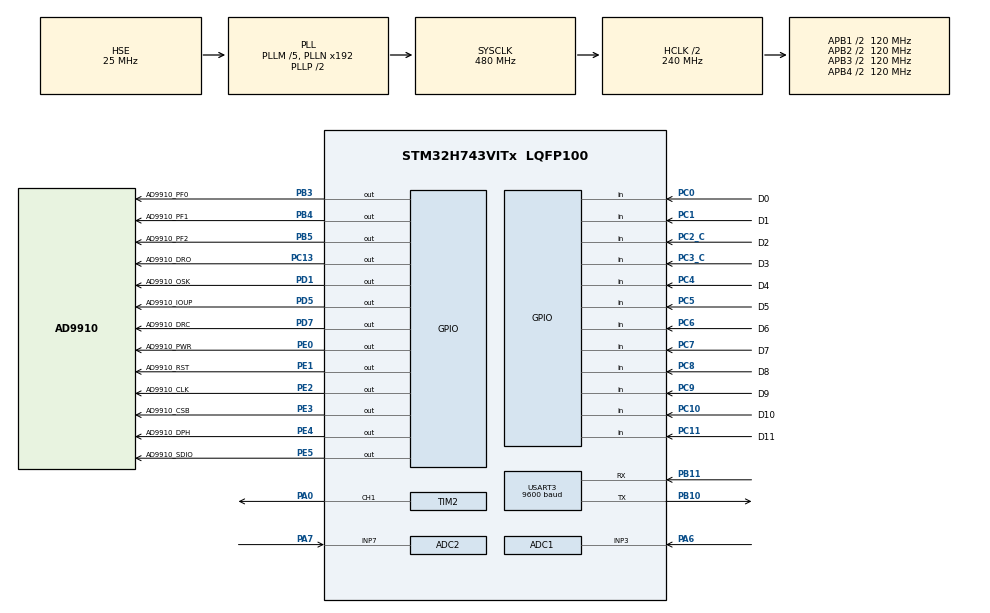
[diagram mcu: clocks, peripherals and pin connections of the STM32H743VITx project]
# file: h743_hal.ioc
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ADC1.Channel-0\#ChannelRegularConversion=ADC_CHANNEL_3
ADC1.ConversionDataManagement=ADC_CONVERSIONDATA_DMA_CIRCULAR
ADC1.ExternalTrigConv=ADC_EXTERNALTRIG_T4_TRGO
ADC1.NbrOfConversionFlag=1
ADC1.OffsetNumber-0\#ChannelRegularConversion=ADC_OFFSET_NONE
ADC1.OffsetSignedSaturation-0\#ChannelRegularConversion=DISABLE
ADC1.Rank-0\#ChannelRegularConversion=1
ADC1.Resolution=ADC_RESOLUTION_16B
ADC1.SamplingTime-0\#ChannelRegularConversion=ADC_SAMPLETIME_1CYCLE_5
ADC1.master=1
ADC2.Channel-0\#ChannelRegularConversion=ADC_CHANNEL_7
ADC2.ConversionDataManagement=ADC_CONVERSIONDATA_DMA_CIRCULAR
ADC2.ExternalTrigConv=ADC_EXTERNALTRIG_T3_TRGO
ADC2.NbrOfConversionFlag=1
ADC2.OffsetNumber-0\#ChannelRegularConversion=ADC_OFFSET_NONE
ADC2.OffsetSignedSaturation-0\#ChannelRegularConversion=DISABLE
ADC2.Rank-0\#ChannelRegularConversion=1
ADC2.Resolution=ADC_RESOLUTION_12B
ADC2.SamplingTime-0\#ChannelRegularConversion=ADC_SAMPLETIME_1CYCLE_5
CORTEX_M7.AccessPermission_Spec=MPU_REGION_FULL_ACCESS
CORTEX_M7.BaseAddress_Spec=0x24000000
CORTEX_M7.CPU_DCache=Enabled
CORTEX_M7.CPU_ICache=Enabled
CORTEX_M7.DisableExec_Spec=MPU_INSTRUCTION_ACCESS_ENABLE
CORTEX_M7.IsShareable_Spec=MPU_ACCESS_NOT_SHAREABLE
CORTEX_M7.Size_Spec=MPU_REGION_SIZE_128KB
CORTEX_M7.SubRegionDisable_Spec=0x0
CORTEX_M7.TypeExtField_Spec=MPU_TEX_LEVEL1
CORTEX_M7.default_mode_Activation=1
Dma.ADC1.1.Direction=DMA_PERIPH_TO_MEMORY
Dma.ADC1.1.EventEnable=DISABLE
Dma.ADC1.1.FIFOMode=DMA_FIFOMODE_DISABLE
Dma.ADC1.1.Instance=DMA1_Stream0
Dma.ADC1.1.MemDataAlignment=DMA_MDATAALIGN_HALFWORD
Dma.ADC1.1.MemInc=DMA_MINC_ENABLE
Dma.ADC1.1.Mode=DMA_CIRCULAR
Dma.ADC1.1.PeriphDataAlignment=DMA_PDATAALIGN_HALFWORD
Dma.ADC1.1.PeriphInc=DMA_PINC_DISABLE
Dma.ADC1.1.Polarity=HAL_DMAMUX_REQ_GEN_RISING
Dma.ADC1.1.Priority=DMA_PRIORITY_LOW
Dma.ADC1.1.RequestNumber=1
Dma.ADC1.1.SignalID=NONE
Dma.ADC1.1.SyncEnable=DISABLE
Dma.ADC1.1.SyncPolarity=HAL_DMAMUX_SYNC_NO_EVENT
Dma.ADC1.1.SyncRequestNumber=1
Dma.ADC1.1.SyncSignalID=NONE
Dma.ADC2.0.Direction=DMA_PERIPH_TO_MEMORY
Dma.ADC2.0.EventEnable=DISABLE
Dma.ADC2.0.FIFOMode=DMA_FIFOMODE_DISABLE
Dma.ADC2.0.Instance=DMA2_Stream0
Dma.ADC2.0.MemDataAlignment=DMA_MDATAALIGN_HALFWORD
Dma.ADC2.0.MemInc=DMA_MINC_ENABLE
Dma.ADC2.0.Mode=DMA_NORMAL
Dma.ADC2.0.PeriphDataAlignment=DMA_PDATAALIGN_HALFWORD
Dma.ADC2.0.PeriphInc=DMA_PINC_DISABLE
Dma.ADC2.0.Polarity=HAL_DMAMUX_REQ_GEN_RISING
Dma.ADC2.0.Priority=DMA_PRIORITY_HIGH
Dma.ADC2.0.RequestNumber=1
Dma.ADC2.0.SignalID=NONE
Dma.ADC2.0.SyncEnable=DISABLE
Dma.ADC2.0.SyncPolarity=HAL_DMAMUX_SYNC_NO_EVENT
Dma.ADC2.0.SyncRequestNumber=1
Dma.ADC2.0.SyncSignalID=NONE
Dma.Request0=ADC2
Dma.Request1=ADC1
Dma.Request2=TIM2_CH2
Dma.TIM2_CH2.2.Direction=DMA_PERIPH_TO_MEMORY
Dma.TIM2_CH2.2.EventEnable=DISABLE
Dma.TIM2_CH2.2.FIFOMode=DMA_FIFOMODE_DISABLE
Dma.TIM2_CH2.2.Instance=DMA1_Stream1
Dma.TIM2_CH2.2.MemDataAlignment=DMA_MDATAALIGN_HALFWORD
Dma.TIM2_CH2.2.MemInc=DMA_MINC_ENABLE
Dma.TIM2_CH2.2.Mode=DMA_NORMAL
Dma.TIM2_CH2.2.PeriphDataAlignment=DMA_PDATAALIGN_HALFWORD
Dma.TIM2_CH2.2.PeriphInc=DMA_PINC_DISABLE
Dma.TIM2_CH2.2.Polarity=HAL_DMAMUX_REQ_GEN_RISING
Dma.TIM2_CH2.2.Priority=DMA_PRIORITY_VERY_HIGH
Dma.TIM2_CH2.2.RequestNumber=1
Dma.TIM2_CH2.2.SignalID=NONE
Dma.TIM2_CH2.2.SyncEnable=DISABLE
Dma.TIM2_CH2.2.SyncPolarity=HAL_DMAMUX_SYNC_NO_EVENT
Dma.TIM2_CH2.2.SyncRequestNumber=1
Dma.TIM2_CH2.2.SyncSignalID=NONE
Mcu.Family=STM32H7
Mcu.Name=STM32H743VITx
Mcu.Package=LQFP100
NVIC.DMA1_Stream0_IRQn=true\:0\:0\:false\:false\:true\:false\:true\:true
NVIC.DMA1_Stream1_IRQn=true\:0\:0\:false\:false\:true\:false\:true\:true
NVIC.DMA2_Stream0_IRQn=true\:0\:0\:false\:false\:true\:false\:true\:true
NVIC.PriorityGroup=NVIC_PRIORITYGROUP_4
NVIC.USART3_IRQn=true\:0\:0\:false\:false\:true\:true\:true\:true
PA0.Signal=S_TIM2_CH1_ETR
PA13\ (JTMS/SWDIO).Mode=Serial_Wire
PA13\ (JTMS/SWDIO).Signal=DEBUG_JTMS-SWDIO
PA14\ (JTCK/SWCLK).Mode=Serial_Wire
PA14\ (JTCK/SWCLK).Signal=DEBUG_JTCK-SWCLK
PA6.Signal=ADCx_INP3
PA7.Signal=ADCx_INP7
PB10.Mode=Asynchronous
PB10.Signal=USART3_TX
PB11.Mode=Asynchronous
PB11.Signal=USART3_RX
PB3\ (JTDO/TRACESWO).GPIO_Label=AD9910_PF0
PB3\ (JTDO/TRACESWO).Signal=GPIO_Output
PB4\ (NJTRST).GPIO_Label=AD9910_PF1
PB4\ (NJTRST).Signal=GPIO_Output
PB5.GPIO_Label=AD9910_PF2
PB5.Signal=GPIO_Output
PC0.GPIO_Label=D0
PC0.Signal=GPIO_Input
PC1.GPIO_Label=D1
PC1.Signal=GPIO_Input
PC10.GPIO_Label=D10
PC10.Signal=GPIO_Input
PC11.GPIO_Label=D11
PC11.Signal=GPIO_Input
PC13.GPIO_Label=AD9910_DRO
PC13.Signal=GPIO_Output
PC2_C.GPIO_Label=D2
PC2_C.Signal=GPIO_Input
PC3_C.GPIO_Label=D3
PC3_C.Signal=GPIO_Input
PC4.GPIO_Label=D4
PC4.Signal=GPIO_Input
PC5.GPIO_Label=D5
PC5.Signal=GPIO_Input
PC6.GPIO_Label=D6
PC6.Signal=GPIO_Input
PC7.GPIO_Label=D7
PC7.Signal=GPIO_Input
PC8.GPIO_Label=D8
PC8.Signal=GPIO_Input
PC9.GPIO_Label=D9
PC9.Signal=GPIO_Input
PD1.GPIO_Label=AD9910_OSK
PD1.Signal=GPIO_Output
PD5.GPIO_Label=AD9910_IOUP
PD5.Signal=GPIO_Output
PD7.GPIO_Label=AD9910_DRC
PD7.Signal=GPIO_Output
PE0.GPIO_Label=AD9910_PWR
PE0.Signal=GPIO_Output
PE1.GPIO_Label=AD9910_RST
PE1.Signal=GPIO_Output
PE2.GPIO_Label=AD9910_CLK
PE2.GPIO_Speed=GPIO_SPEED_FREQ_VERY_HIGH
PE2.Signal=GPIO_Output
PE3.GPIO_Label=AD9910_CSB
PE3.Signal=GPIO_Output
PE4.GPIO_Label=AD9910_DPH
PE4.Signal=GPIO_Output
PE5.GPIO_Label=AD9910_SDIO
PE5.Signal=GPIO_Output
PH0-OSC_IN\ (PH0).Mode=HSE-External-Oscillator
PH0-OSC_IN\ (PH0).Signal=RCC_OSC_IN
PH1-OSC_OUT\ (PH1).Mode=HSE-External-Oscillator
PH1-OSC_OUT\ (PH1).Signal=RCC_OSC_OUT
ProjectManager.HeapSize=0x200
ProjectManager.StackSize=0x400
ProjectManager.TargetToolchain=MDK-ARM V5.32
RCC.ADCFreq_Value=75000000
RCC.APB1Freq_Value=120000000
RCC.APB2Freq_Value=120000000
RCC.APB3Freq_Value=120000000
RCC.APB4Freq_Value=120000000
RCC.CortexFreq_Value=480000000
RCC.D1PPRE=RCC_APB3_DIV2
RCC.D2PPRE1=RCC_APB1_DIV2
RCC.D2PPRE2=RCC_APB2_DIV2
RCC.D3PPRE=RCC_APB4_DIV2
RCC.DIVM1=5
RCC.DIVM2=2
RCC.DIVN1=192
RCC.DIVN2=12
RCC.HCLKFreq_Value=240000000
RCC.HPRE=RCC_HCLK_DIV2
RCC.PLL2FRACN=0
RCC.PLL3FRACN=0
RCC.PLLFRACN=0
RCC.PLLSourceVirtual=RCC_PLLSOURCE_HSE
RCC.SYSCLKFreq_VALUE=480000000
RCC.SYSCLKSource=RCC_SYSCLKSOURCE_PLLCLK
RCC.USBFreq_Value=480000000
SH.ADCx_INP3.0=ADC1_INP3,IN3-Single-Ended
SH.ADCx_INP7.0=ADC2_INP7,IN7-Single-Ended
SH.S_TIM2_CH1_ETR.0=TIM2_CH1,PWM Generation1 CH1
TIM2.AutoReloadPreload=TIM_AUTORELOAD_PRELOAD_ENABLE
TIM2.Channel-Output\ Compare2\ No\ Output=TIM_CHANNEL_2
TIM2.Channel-PWM\ Generation1\ CH1=TIM_CHANNEL_1
TIM2.CounterMode=TIM_COUNTERMODE_UP
TIM2.OC2Preload=DISABLE
TIM2.OCPolarity_1=TIM_OCPOLARITY_HIGH
TIM2.Period=2929-1
TIM2.Prescaler=2-1
TIM2.Pulse-Output\ Compare2\ No\ Output=2000
TIM2.Pulse-PWM\ Generation1\ CH1=1464
TIM2.TIM_MasterOutputTrigger=TIM_TRGO_UPDATE
TIM3.AutoReloadPreload=TIM_AUTORELOAD_PRELOAD_ENABLE
TIM3.Period=2929-1
TIM3.Prescaler=2-1
TIM3.TIM_MasterOutputTrigger=TIM_TRGO_UPDATE
TIM4.AutoReloadPreload=TIM_AUTORELOAD_PRELOAD_ENABLE
TIM4.Period=10-1
TIM4.Prescaler=240-1
TIM4.TIM_MasterOutputTrigger=TIM_TRGO_UPDATE
USART3.BaudRate=9600
USART3.VirtualMode-Asynchronous=VM_ASYNC
VP_MEMORYMAP_VS_MEMORYMAP.Mode=CurAppReg
VP_TIM2_VS_ClockSourceINT.Mode=Internal
VP_TIM2_VS_no_output2.Mode=Output Compare2 No Output
VP_TIM3_VS_ClockSourceINT.Mode=Internal
VP_TIM4_VS_ClockSourceINT.Mode=Internal
board=custom

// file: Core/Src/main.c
/* USER CODE BEGIN Header */
/**
  ******************************************************************************
  * @file           : main.c
  * @brief          : Main program body
  ******************************************************************************
  * @attention
  *
  * Copyright (c) 2026 STMicroelectronics.
  * All rights reserved.
  *
  * This software is licensed under terms that can be found in the LICENSE file
  * in the root directory of this software component.
  * If no LICENSE file comes with this software, it is provided AS-IS.
  *
  ******************************************************************************
  */
/* USER CODE END Header */
#include "main.h"
#include "adc.h"
#include "dma.h"
#include "tim.h"
#include "usart.h"
#include "gpio.h"

/* USER CODE BEGIN Includes */
#include "bsp_system.h"
#include "global_types.h"
/* USER CODE END Includes */

/* USER CODE BEGIN PV */
char aRxBuffer[RXBUFFERSIZE];
uint16_t RX_len;

volatile uint8_t dma_finish_ad9220 = 0;
volatile uint8_t dma_finish_adc2   = 0;

__attribute__((section (".AXI_SRAM"), aligned(32)))  uint16_t adc1_buffer[FFT_N+4] ;//混合信号，由AD9220采集，前四个数据舍弃
__attribute__((section (".AXI_SRAM"), aligned(32)))  uint16_t adc2_buffer[FFT_N] ;
__attribute__((section (".AXI_SRAM"))) fftin FFTIN_Mix;
__attribute__((section (".AXI_SRAM"))) fftin FFTIN_Inter;
__attribute__((section (".AXI_SRAM"))) fftdata FFTOUT_Mix;
__attribute__((section (".AXI_SRAM"))) fftdata FFTOUT_Inter;
__attribute__((section (".AXI_SRAM"), aligned(32)))  uint16_t phase_adc_buffer[16] ;//混频信号采集

max_3_index Top3_Mix;
max_3_index Top3_Inter;
Analysis_Result_t output;//频率分析结果

PhaseLocker my_locker;
float current_target_freq = 0.0f;

/* USER CODE END PV */

void SystemClock_Config(void);
void PeriphCommonClock_Config(void);
static void MPU_Config(void);

/* USER CODE BEGIN 0 */

float Get_Phase_ADC_Voltage(void)
{
    uint32_t sum = 0;
    for(int i = 0; i < 128; i++)
    {
        sum += phase_adc_buffer[i];
    }
    return (float)(sum >> 7);
}

void App_process(void)
{
    if (dma_finish_ad9220 == 0 || dma_finish_adc2 == 0) return;

    dma_finish_ad9220 = 0;
    dma_finish_adc2 = 0;

    AD9220_Stop_DMA();
    HAL_ADC_Stop_DMA(&hadc2);

    SCB_InvalidateDCache_by_Addr((uint32_t *)adc1_buffer, sizeof(adc1_buffer));
    SCB_InvalidateDCache_by_Addr((uint32_t *)adc2_buffer, sizeof(adc2_buffer));

    FFT_Task(&output);

    float freq_diff = fabs(output.Original.Freq - current_target_freq);

    if (my_locker.state == STATE_LOCKED) {

        if (freq_diff > 5.0f) {
            current_target_freq = output.Original.Freq;
            Send_Wave(&output);
            __disable_irq();
            PhaseLock_Reset(&my_locker);
            __enable_irq();
        }
    } else {
        if (freq_diff > 1.0f) {
            current_target_freq = output.Original.Freq;
            Send_Wave(&output);
            __disable_irq();
            PhaseLock_Reset(&my_locker);
            __enable_irq();
        }
    }
    USART_Task(&output);
    AD9220_Start_DMA(adc1_buffer, FFT_N + 4);
    HAL_ADC_Start_DMA(&hadc2, (uint32_t*)&adc2_buffer, FFT_N);
}
/* USER CODE END 0 */

int main(void)
{

  /* MPU Configuration--------------------------------------------------------*/
  MPU_Config();

  /* Enable the CPU Cache */

  /* Enable I-Cache---------------------------------------------------------*/
  SCB_EnableICache();

  /* Enable D-Cache---------------------------------------------------------*/
  SCB_EnableDCache();

  /* MCU Configuration--------------------------------------------------------*/

  /* Reset of all peripherals, Initializes the Flash interface and the Systick. */
  HAL_Init();

  /* Configure the system clock */
  SystemClock_Config();

  /* Configure the peripherals common clocks */
  PeriphCommonClock_Config();

  /* Initialize all configured peripherals */
  MX_GPIO_Init();
  MX_DMA_Init();
  MX_TIM3_Init();
  MX_TIM2_Init();
  MX_USART3_UART_Init();
  MX_ADC2_Init();
  MX_ADC1_Init();
  MX_TIM4_Init();
  /* USER CODE BEGIN 2 */
  //  HAL_UARTEx_ReceiveToIdle_IT(&huart3, (uint8_t *)aRxBuffer, RXBUFFERSIZE);
     HAL_ADC_Start_DMA(&hadc2,(uint32_t*)&adc2_buffer,FFT_N);
     HAL_TIM_Base_Start(&htim3);
   AD9220_Start_DMA(adc1_buffer, FFT_N+4);
     HAL_ADC_Start_DMA(&hadc1, (uint32_t*)phase_adc_buffer, 128);
     HAL_TIM_Base_Start(&htim4);
     Init_AD9910();
     HMI_Init();
     // 参数含义：&控制块, 初始占位靶心, Kp, Ki, Kd, 单次最大相位步进(度)
   PhaseLock_Init(&my_locker, 33760.0f, 0.003f, 0.0001f, 0.0f, 2.0f);

  /* USER CODE END 2 */

  /* Infinite loop */
  /* USER CODE BEGIN WHILE */
  while (1)
  {
    App_process();
    /* USER CODE END WHILE */

  }
}

void SystemClock_Config(void)
{
  RCC_OscInitTypeDef RCC_OscInitStruct = {0};
  RCC_ClkInitTypeDef RCC_ClkInitStruct = {0};

  /** Supply configuration update enable
  */
  HAL_PWREx_ConfigSupply(PWR_LDO_SUPPLY);

  /** Configure the main internal regulator output voltage
  */
  __HAL_PWR_VOLTAGESCALING_CONFIG(PWR_REGULATOR_VOLTAGE_SCALE0);

  while(!__HAL_PWR_GET_FLAG(PWR_FLAG_VOSRDY)) {}

  /** Initializes the RCC Oscillators according to the specified parameters
  * in the RCC_OscInitTypeDef structure.
  */
  RCC_OscInitStruct.OscillatorType = RCC_OSCILLATORTYPE_HSE;
  RCC_OscInitStruct.HSEState = RCC_HSE_ON;
  RCC_OscInitStruct.PLL.PLLState = RCC_PLL_ON;
  RCC_OscInitStruct.PLL.PLLSource = RCC_PLLSOURCE_HSE;
  RCC_OscInitStruct.PLL.PLLM = 5;
  RCC_OscInitStruct.PLL.PLLN = 192;
  RCC_OscInitStruct.PLL.PLLP = 2;
  RCC_OscInitStruct.PLL.PLLQ = 2;
  RCC_OscInitStruct.PLL.PLLR = 2;
  RCC_OscInitStruct.PLL.PLLRGE = RCC_PLL1VCIRANGE_2;
  RCC_OscInitStruct.PLL.PLLVCOSEL = RCC_PLL1VCOWIDE;
  RCC_OscInitStruct.PLL.PLLFRACN = 0;
  if (HAL_RCC_OscConfig(&RCC_OscInitStruct) != HAL_OK)
  {
    Error_Handler();
  }

  /** Initializes the CPU, AHB and APB buses clocks
  */
  RCC_ClkInitStruct.ClockType = RCC_CLOCKTYPE_HCLK|RCC_CLOCKTYPE_SYSCLK
                              |RCC_CLOCKTYPE_PCLK1|RCC_CLOCKTYPE_PCLK2
                              |RCC_CLOCKTYPE_D3PCLK1|RCC_CLOCKTYPE_D1PCLK1;
  RCC_ClkInitStruct.SYSCLKSource = RCC_SYSCLKSOURCE_PLLCLK;
  RCC_ClkInitStruct.SYSCLKDivider = RCC_SYSCLK_DIV1;
  RCC_ClkInitStruct.AHBCLKDivider = RCC_HCLK_DIV2;
  RCC_ClkInitStruct.APB3CLKDivider = RCC_APB3_DIV2;
  RCC_ClkInitStruct.APB1CLKDivider = RCC_APB1_DIV2;
  RCC_ClkInitStruct.APB2CLKDivider = RCC_APB2_DIV2;
  RCC_ClkInitStruct.APB4CLKDivider = RCC_APB4_DIV2;

  if (HAL_RCC_ClockConfig(&RCC_ClkInitStruct, FLASH_LATENCY_4) != HAL_OK)
  {
    Error_Handler();
  }
}

void PeriphCommonClock_Config(void)
{
  RCC_PeriphCLKInitTypeDef PeriphClkInitStruct = {0};

  /** Initializes the peripherals clock
  */
  PeriphClkInitStruct.PeriphClockSelection = RCC_PERIPHCLK_ADC;
  PeriphClkInitStruct.PLL2.PLL2M = 2;
  PeriphClkInitStruct.PLL2.PLL2N = 12;
  PeriphClkInitStruct.PLL2.PLL2P = 2;
  PeriphClkInitStruct.PLL2.PLL2Q = 2;
  PeriphClkInitStruct.PLL2.PLL2R = 2;
  PeriphClkInitStruct.PLL2.PLL2RGE = RCC_PLL2VCIRANGE_3;
  PeriphClkInitStruct.PLL2.PLL2VCOSEL = RCC_PLL2VCOMEDIUM;
  PeriphClkInitStruct.PLL2.PLL2FRACN = 0;
  PeriphClkInitStruct.AdcClockSelection = RCC_ADCCLKSOURCE_PLL2;
  if (HAL_RCCEx_PeriphCLKConfig(&PeriphClkInitStruct) != HAL_OK)
  {
    Error_Handler();
  }
}

/* USER CODE BEGIN 4 */

void AD9220_ConvCpltCallback() {
    dma_finish_ad9220 = 1; // 设置 DMA 完成标志
}

void HAL_ADC_ConvCpltCallback(ADC_HandleTypeDef *hadc)
{
     if (hadc->Instance == ADC2)
    {
        dma_finish_adc2 = 1;
    }

            if(hadc->Instance == ADC1)
    {

        SCB_InvalidateDCache_by_Addr((uint32_t *)phase_adc_buffer, sizeof(phase_adc_buffer));
        float phase_voltage = Get_Phase_ADC_Voltage();
        PhaseLock_Process(&my_locker,phase_voltage);
    }
}

/* USER CODE END 4 */

 /* MPU Configuration */

void MPU_Config(void)
{
  MPU_Region_InitTypeDef MPU_InitStruct = {0};

  /* Disables the MPU */
  HAL_MPU_Disable();

  /** Initializes and configures the Region and the memory to be protected
  */
  MPU_InitStruct.Enable = MPU_REGION_ENABLE;
  MPU_InitStruct.Number = MPU_REGION_NUMBER0;
  MPU_InitStruct.BaseAddress = 0x24000000;
  MPU_InitStruct.Size = MPU_REGION_SIZE_128KB;
  MPU_InitStruct.SubRegionDisable = 0x0;
  MPU_InitStruct.TypeExtField = MPU_TEX_LEVEL1;
  MPU_InitStruct.AccessPermission = MPU_REGION_FULL_ACCESS;
  MPU_InitStruct.DisableExec = MPU_INSTRUCTION_ACCESS_ENABLE;
  MPU_InitStruct.IsShareable = MPU_ACCESS_NOT_SHAREABLE;
  MPU_InitStruct.IsCacheable = MPU_ACCESS_NOT_CACHEABLE;
  MPU_InitStruct.IsBufferable = MPU_ACCESS_NOT_BUFFERABLE;

  HAL_MPU_ConfigRegion(&MPU_InitStruct);
  /* Enables the MPU */
  HAL_MPU_Enable(MPU_PRIVILEGED_DEFAULT);

}

void Error_Handler(void)
{
  /* USER CODE BEGIN Error_Handler_Debug */
  /* User can add his own implementation to report the HAL error return state */
  __disable_irq();
  while (1)
  {
     HMI_send_string("t0.txt", "ERROR");
  }
  /* USER CODE END Error_Handler_Debug */
}
